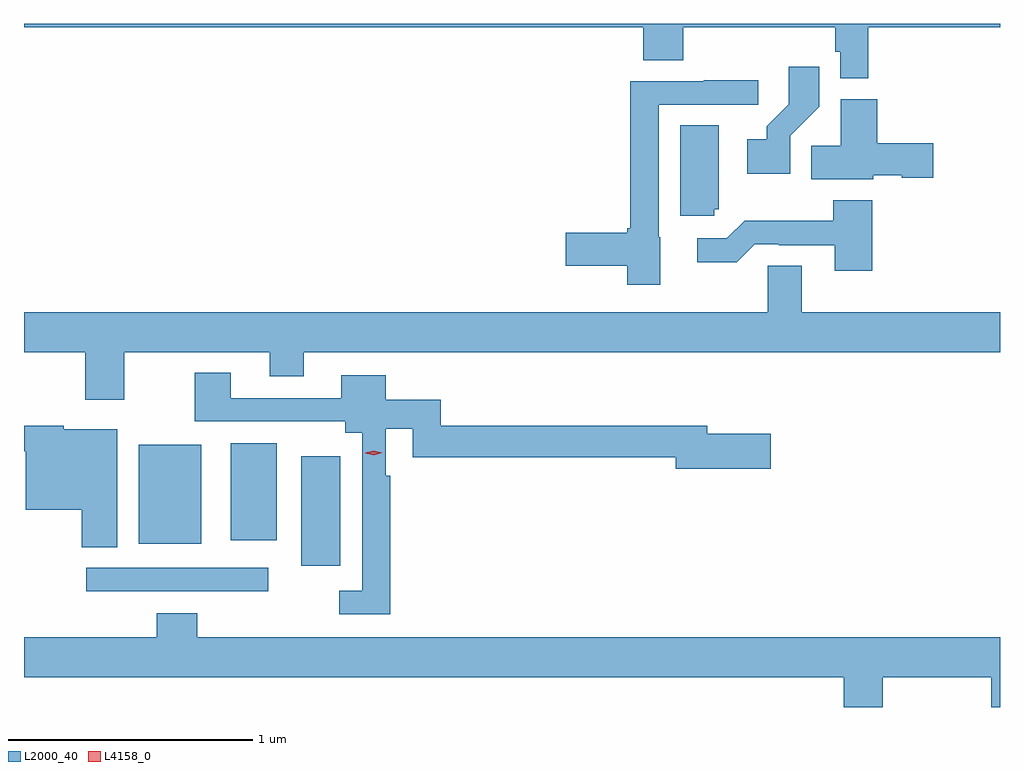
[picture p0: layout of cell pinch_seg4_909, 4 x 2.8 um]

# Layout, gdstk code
import gdstk
lib = gdstk.Library(unit=1e-6, precision=1e-09)
def R(c, l, rs):  # rectangles x0, y0, x1, y1
    for r in rs: c.add(gdstk.rectangle(r[:2], r[2:], *l))
def P(c, l, *ps):  # polygons
    for p in ps: c.add(gdstk.Polygon(p, *l))
L2000_40 = (2000, 40)
L4158_0 = (4158, 0)

pinch_seg4_909 = lib.new_cell('pinch_seg4_909')
R(pinch_seg4_909, L2000_40, [(671.529,830.472,672.274,830.568), (672.41,830.577,672.571,831.025), (671.744,830.666,672.001,831.073), (672.122,830.681,672.31,831.079)])
P(pinch_seg4_909, L2000_40, [(674.735,832.784),(675.274,832.784),(675.274,832.799),(671.274,832.799),(671.274,832.784),(673.811,832.784),(673.811,832.648),(673.976,832.648),(673.976,832.784),(674.599,832.784),(674.599,832.683),(674.619,832.683),(674.619,832.574),(674.735,832.574)],
  [(674.415,832.339),(674.534,832.458),(674.534,832.621),(674.409,832.621),(674.409,832.469),(674.318,832.379),(674.318,832.324),(674.238,832.324),(674.238,832.184),(674.415,832.184)],
  [(673.882,831.924),(673.875,831.924),(673.875,832.467),(674.284,832.467),(674.284,832.566),(674.059,832.566),(674.059,832.563),(673.759,832.563),(673.759,831.959),(673.746,831.959),(673.746,831.941),(673.494,831.941),(673.494,831.806),(673.746,831.806),(673.746,831.728),(673.882,831.728)],
  [(674.754,832.178),(674.871,832.178),(674.871,832.166),(675.001,832.166),(675.001,832.308),(674.771,832.308),(674.771,832.489),(674.621,832.489),(674.621,832.298),(674.5,832.298),(674.5,832.16),(674.754,832.16)],
  [(674.103,832.038),(674.122,832.038),(674.122,832.382),(673.964,832.382),(673.964,832.011),(674.103,832.011)],
  [(674.75,832.075),(674.59,832.075),(674.59,831.991),(674.227,831.991),(674.154,831.918),(674.034,831.918),(674.034,831.821),(674.195,831.821),(674.268,831.894),(674.368,831.894),(674.368,831.891),(674.597,831.891),(674.597,831.786),(674.75,831.786)],
  [(671.685,831.452),(672.281,831.452),(672.281,831.353),(672.421,831.353),(672.421,831.452),(675.274,831.452),(675.274,831.616),(674.461,831.616),(674.461,831.806),(674.322,831.806),(674.322,831.616),(671.274,831.616),(671.274,831.452),(671.525,831.452),(671.525,831.258),(671.685,831.258)],
  [(672.776,830.945),(672.756,830.945),(672.756,831.139),(672.867,831.139),(672.867,831.022),(673.946,831.022),(673.946,830.975),(674.335,830.975),(674.335,831.117),(674.074,831.117),(674.074,831.151),(672.983,831.151),(672.983,831.257),(672.757,831.257),(672.757,831.358),(672.575,831.358),(672.575,831.264),(672.121,831.264),(672.121,831.367),(671.974,831.367),(671.974,831.168),(672.59,831.168),(672.59,831.122),(672.66,831.122),(672.66,830.475),(672.567,830.475),(672.567,830.379),(672.776,830.379)],
  [(671.656,831.136),(671.436,831.136),(671.436,831.151),(671.274,831.151),(671.274,831.047),(671.282,831.047),(671.282,830.807),(671.51,830.807),(671.51,830.653),(671.656,830.653)],
  [(674.793,830.12),(675.238,830.12),(675.238,829.996),(675.274,829.996),(675.274,830.284),(671.984,830.284),(671.984,830.383),(671.819,830.383),(671.819,830.284),(671.274,830.284),(671.274,830.12),(674.633,830.12),(674.633,829.996),(674.793,829.996)])
P(pinch_seg4_909, L4158_0, [(672.707,831.029),(672.672,831.038),(672.672,831.038),(672.672,831.039),(672.707,831.049),(672.742,831.04),(672.742,831.04),(672.742,831.04)])

lib.write_gds('pinch_seg4_909.gds')
